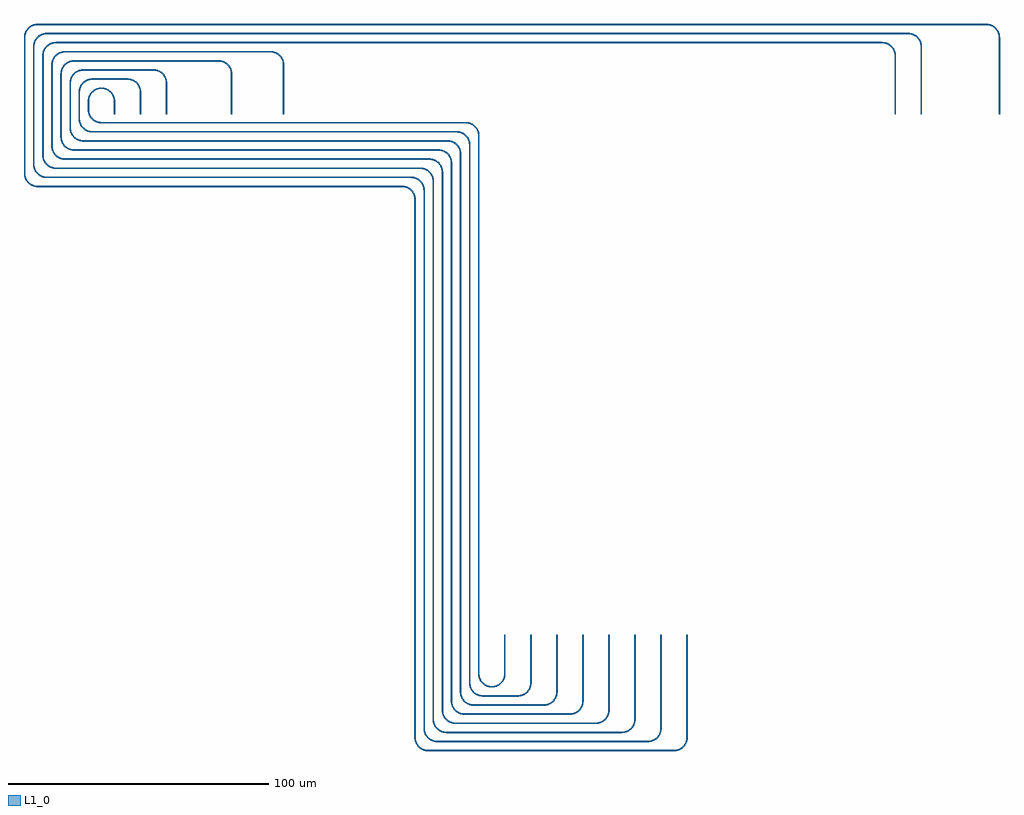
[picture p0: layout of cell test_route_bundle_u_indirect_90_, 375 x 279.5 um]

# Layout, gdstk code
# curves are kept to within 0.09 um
from math import pi, radians
import gdstk
lib = gdstk.Library(unit=1e-6, precision=1e-09)
def R(c, l, rs):  # rectangles x0, y0, x1, y1
    for r in rs: c.add(gdstk.rectangle(r[:2], r[2:], *l))
def P(c, l, *ps):  # polygons
    for p in ps: c.add(gdstk.Polygon(p, *l))
L1_0 = (1, 0)

straight_gdsfactorypcom_ = lib.new_cell('straight_gdsfactorypcom_0e673927')
R(straight_gdsfactorypcom_, L1_0, [(0,-0.25,206.75,0.25)])

c_straight_gdsfactorypcom_ = lib.new_cell('straight_gdsfactorypcom_5d7bad5d')
R(c_straight_gdsfactorypcom_, L1_0, [(0,-0.25,13.5,0.25)])

c_straight_gdsfactorypcom__ = lib.new_cell('straight_gdsfactorypcom_2bf0a6ae')
R(c_straight_gdsfactorypcom__, L1_0, [(0,-0.25,27,0.25)])

c_straight_gdsfactorypcom___ = lib.new_cell('straight_gdsfactorypcom_ae74440f')
R(c_straight_gdsfactorypcom___, L1_0, [(0,-0.25,40.5,0.25)])

c_straight_gdsfactorypcom____ = lib.new_cell('straight_gdsfactorypcom_b1e06083')
R(c_straight_gdsfactorypcom____, L1_0, [(0,-0.25,54,0.25)])

c_straight_gdsfactorypcom_____ = lib.new_cell('straight_gdsfactorypcom_2f048314')
R(c_straight_gdsfactorypcom_____, L1_0, [(0,-0.25,317.5,0.25)])

c_straight_gdsfactorypcom______ = lib.new_cell('straight_gdsfactorypcom_1254fcb9')
R(c_straight_gdsfactorypcom______, L1_0, [(0,-0.25,67.5,0.25)])

c_straight_gdsfactorypcom_______ = lib.new_cell('straight_gdsfactorypcom_dda4c498')
R(c_straight_gdsfactorypcom_______, L1_0, [(0,-0.25,331,0.25)])

c_straight_gdsfactorypcom________ = lib.new_cell('straight_gdsfactorypcom_6c9425ca')
R(c_straight_gdsfactorypcom________, L1_0, [(0,-0.25,81,0.25)])

c_straight_gdsfactorypcom_________ = lib.new_cell('straight_gdsfactorypcom_8417fc58')
R(c_straight_gdsfactorypcom_________, L1_0, [(0,-0.25,364.5,0.25)])

c_straight_gdsfactorypcom__________ = lib.new_cell('straight_gdsfactorypcom_fe520bd2')
R(c_straight_gdsfactorypcom__________, L1_0, [(0,-0.25,94.5,0.25)])

bend_circular_gdsfactor_ = lib.new_cell('bend_circular_gdsfactor_0c9d0621')
P(bend_circular_gdsfactor_, L1_0, [(0,-0.25),(0,0.25),(0.988,0.354),(1.932,0.661),(2.587,1.016),(3.359,1.641),(3.984,2.413),(4.339,3.068),(4.646,4.012),(4.75,5),(5.25,5),(5.135,3.908),(4.796,2.865),(4.247,1.914),(3.712,1.288),(3.086,0.753),(2.135,0.204),(1.092,-0.135)])

c_straight_gdsfactorypcom___________ = lib.new_cell('straight_gdsfactorypcom_4c7e8790')
R(c_straight_gdsfactorypcom___________, L1_0, [(0,-0.25,29.5,0.25)])

c_straight_gdsfactorypcom____________ = lib.new_cell('straight_gdsfactorypcom_3da9e238')
R(c_straight_gdsfactorypcom____________, L1_0, [(0,-0.25,26,0.25)])

c_straight_gdsfactorypcom_____________ = lib.new_cell('straight_gdsfactorypcom_90bf7c3d')
R(c_straight_gdsfactorypcom_____________, L1_0, [(0,-0.25,22.5,0.25)])

c_straight_gdsfactorypcom______________ = lib.new_cell('straight_gdsfactorypcom_d1a5e935')
R(c_straight_gdsfactorypcom______________, L1_0, [(0,-0.25,140,0.25)])

c_straight_gdsfactorypcom_______________ = lib.new_cell('straight_gdsfactorypcom_dbcfb186')
R(c_straight_gdsfactorypcom_______________, L1_0, [(0,-0.25,3.25,0.25)])

c_straight_gdsfactorypcom________________ = lib.new_cell('straight_gdsfactorypcom_a1f03c60')
R(c_straight_gdsfactorypcom________________, L1_0, [(0,-0.25,15.5,0.25)])

c_straight_gdsfactorypcom_________________ = lib.new_cell('straight_gdsfactorypcom_ae8d1233')
R(c_straight_gdsfactorypcom_________________, L1_0, [(0,-0.25,55.5,0.25)])

c_straight_gdsfactorypcom__________________ = lib.new_cell('straight_gdsfactorypcom_619c788f')
R(c_straight_gdsfactorypcom__________________, L1_0, [(0,-0.25,24.25,0.25)])

c_straight_gdsfactorypcom___________________ = lib.new_cell('straight_gdsfactorypcom_04b0d241')
R(c_straight_gdsfactorypcom___________________, L1_0, [(0,-0.25,19,0.25)])

c_straight_gdsfactorypcom____________________ = lib.new_cell('straight_gdsfactorypcom_26d402a5')
R(c_straight_gdsfactorypcom____________________, L1_0, [(0,-0.25,79,0.25)])

c_straight_gdsfactorypcom_____________________ = lib.new_cell('straight_gdsfactorypcom_e8fa81d7')
R(c_straight_gdsfactorypcom_____________________, L1_0, [(0,-0.25,31.25,0.25)])

c_straight_gdsfactorypcom______________________ = lib.new_cell('straight_gdsfactorypcom_29adfe89')
R(c_straight_gdsfactorypcom______________________, L1_0, [(0,-0.25,8.5,0.25)])

c_straight_gdsfactorypcom_______________________ = lib.new_cell('straight_gdsfactorypcom_d76f548c')
R(c_straight_gdsfactorypcom_______________________, L1_0, [(0,-0.25,38.25,0.25)])

c_straight_gdsfactorypcom________________________ = lib.new_cell('straight_gdsfactorypcom_f8441c0e')
R(c_straight_gdsfactorypcom________________________, L1_0, [(0,-0.25,10.25,0.25)])

c_straight_gdsfactorypcom_________________________ = lib.new_cell('straight_gdsfactorypcom_f5657628')
R(c_straight_gdsfactorypcom_________________________, L1_0, [(0,-0.25,5,0.25)])

c_straight_gdsfactorypcom__________________________ = lib.new_cell('straight_gdsfactorypcom_1e25e4af')
R(c_straight_gdsfactorypcom__________________________, L1_0, [(0,-0.25,45.25,0.25)])

c_straight_gdsfactorypcom___________________________ = lib.new_cell('straight_gdsfactorypcom_f3e780f9')
R(c_straight_gdsfactorypcom___________________________, L1_0, [(0,-0.25,12,0.25)])

c_straight_gdsfactorypcom____________________________ = lib.new_cell('straight_gdsfactorypcom_67743730')
R(c_straight_gdsfactorypcom____________________________, L1_0, [(0,-0.25,52.25,0.25)])

c_straight_gdsfactorypcom_____________________________ = lib.new_cell('straight_gdsfactorypcom_2e1b5072')
R(c_straight_gdsfactorypcom_____________________________, L1_0, [(0,-0.25,17.25,0.25)])

c_straight_gdsfactorypcom______________________________ = lib.new_cell('straight_gdsfactorypcom_872c1d86')
R(c_straight_gdsfactorypcom______________________________, L1_0, [(0,-0.25,15,0.25)])

c_straight_gdsfactorypcom_______________________________ = lib.new_cell('straight_gdsfactorypcom_056072ab')
R(c_straight_gdsfactorypcom_______________________________, L1_0, [(0,-0.25,36,0.25)])

c_straight_gdsfactorypcom________________________________ = lib.new_cell('straight_gdsfactorypcom_e516d49d')
R(c_straight_gdsfactorypcom________________________________, L1_0, [(0,-0.25,29,0.25)])

c_straight_gdsfactorypcom_________________________________ = lib.new_cell('straight_gdsfactorypcom_17c3b0b8')
R(c_straight_gdsfactorypcom_________________________________, L1_0, [(0,-0.25,25.5,0.25)])

c_straight_gdsfactorypcom__________________________________ = lib.new_cell('straight_gdsfactorypcom_d5b5a5a4')
R(c_straight_gdsfactorypcom__________________________________, L1_0, [(0,-0.25,22,0.25)])

c_straight_gdsfactorypcom___________________________________ = lib.new_cell('straight_gdsfactorypcom_a9db5d26')
R(c_straight_gdsfactorypcom___________________________________, L1_0, [(0,-0.25,18.5,0.25)])

c_straight_gdsfactorypcom____________________________________ = lib.new_cell('straight_gdsfactorypcom_ac2d0620')
R(c_straight_gdsfactorypcom____________________________________, L1_0, [(0,-0.25,32.5,0.25)])

c_straight_gdsfactorypcom_____________________________________ = lib.new_cell('straight_gdsfactorypcom_18aef842')
R(c_straight_gdsfactorypcom_____________________________________, L1_0, [(0,-0.25,39.5,0.25)])

test_route_bundle_u_indi = lib.new_cell('test_route_bundle_u_indirect_90_')
test_route_bundle_u_indi.add(gdstk.Reference(straight_gdsfactorypcom_, (40,-8.25), rotation=3*pi/2))
test_route_bundle_u_indi.add(gdstk.Reference(straight_gdsfactorypcom_, (36.5,-11.75), rotation=3*pi/2))
test_route_bundle_u_indi.add(gdstk.Reference(c_straight_gdsfactorypcom_, (41.5,-223.5)))
test_route_bundle_u_indi.add(gdstk.Reference(straight_gdsfactorypcom_, (33,-15.25), rotation=3*pi/2))
test_route_bundle_u_indi.add(gdstk.Reference(c_straight_gdsfactorypcom__, (38,-227)))
test_route_bundle_u_indi.add(gdstk.Reference(straight_gdsfactorypcom_, (29.5,-18.75), rotation=3*pi/2))
test_route_bundle_u_indi.add(gdstk.Reference(c_straight_gdsfactorypcom___, (34.5,-230.5)))
test_route_bundle_u_indi.add(gdstk.Reference(straight_gdsfactorypcom_, (26,-22.25), rotation=3*pi/2))
test_route_bundle_u_indi.add(gdstk.Reference(c_straight_gdsfactorypcom____, (31,-234)))
test_route_bundle_u_indi.add(gdstk.Reference(c_straight_gdsfactorypcom_____, (195,27.5), rotation=pi))
test_route_bundle_u_indi.add(gdstk.Reference(straight_gdsfactorypcom_, (22.5,-25.75), rotation=3*pi/2))
test_route_bundle_u_indi.add(gdstk.Reference(c_straight_gdsfactorypcom______, (27.5,-237.5)))
test_route_bundle_u_indi.add(gdstk.Reference(c_straight_gdsfactorypcom_______, (205,31), rotation=pi))
test_route_bundle_u_indi.add(gdstk.Reference(straight_gdsfactorypcom_, (19,-29.25), rotation=3*pi/2))
test_route_bundle_u_indi.add(gdstk.Reference(c_straight_gdsfactorypcom________, (24,-241)))
test_route_bundle_u_indi.add(gdstk.Reference(c_straight_gdsfactorypcom_________, (235,34.5), rotation=pi))
test_route_bundle_u_indi.add(gdstk.Reference(straight_gdsfactorypcom_, (15.5,-32.75), rotation=3*pi/2))
test_route_bundle_u_indi.add(gdstk.Reference(c_straight_gdsfactorypcom__________, (20.5,-244.5)))
test_route_bundle_u_indi.add(gdstk.Reference(bend_circular_gdsfactor_, (205,31), x_reflection=True))
test_route_bundle_u_indi.add(gdstk.Reference(bend_circular_gdsfactor_, (235,34.5), x_reflection=True))
test_route_bundle_u_indi.add(gdstk.Reference(c_straight_gdsfactorypcom___________, (240,0), rotation=pi/2))
test_route_bundle_u_indi.add(gdstk.Reference(c_straight_gdsfactorypcom____________, (210,0), rotation=pi/2))
test_route_bundle_u_indi.add(gdstk.Reference(c_straight_gdsfactorypcom_____________, (200,0), rotation=pi/2))
test_route_bundle_u_indi.add(gdstk.Reference(bend_circular_gdsfactor_, (195,27.5), x_reflection=True))
test_route_bundle_u_indi.add(gdstk.Reference(bend_circular_gdsfactor_, (33,-15.25), rotation=pi/2))
test_route_bundle_u_indi.add(gdstk.Reference(c_straight_gdsfactorypcom______________, (-112,-10.25)))
test_route_bundle_u_indi.add(gdstk.Reference(bend_circular_gdsfactor_, (-105,-3.25), rotation=pi, x_reflection=True))
test_route_bundle_u_indi.add(gdstk.Reference(c_straight_gdsfactorypcom_______________, (-110,5), rotation=3*pi/2))
test_route_bundle_u_indi.add(gdstk.Reference(bend_circular_gdsfactor_, (-60,20.5), x_reflection=True))
test_route_bundle_u_indi.add(gdstk.Reference(c_straight_gdsfactorypcom________________, (-55,0), rotation=pi/2))
test_route_bundle_u_indi.add(gdstk.Reference(bend_circular_gdsfactor_, (-120.5,15.5), rotation=pi/2, x_reflection=True))
test_route_bundle_u_indi.add(gdstk.Reference(c_straight_gdsfactorypcom_________________, (-60,20.5), rotation=pi))
test_route_bundle_u_indi.add(gdstk.Reference(bend_circular_gdsfactor_, (-115.5,-13.75), rotation=pi, x_reflection=True))
test_route_bundle_u_indi.add(gdstk.Reference(c_straight_gdsfactorypcom__________________, (-120.5,15.5), rotation=3*pi/2))
test_route_bundle_u_indi.add(gdstk.Reference(bend_circular_gdsfactor_, (29.5,-18.75), rotation=pi/2))
test_route_bundle_u_indi.add(gdstk.Reference(c_straight_gdsfactorypcom______________, (-115.5,-13.75)))
test_route_bundle_u_indi.add(gdstk.Reference(bend_circular_gdsfactor_, (40,-8.25), rotation=pi/2))
test_route_bundle_u_indi.add(gdstk.Reference(c_straight_gdsfactorypcom______________, (-105,-3.25)))
test_route_bundle_u_indi.add(gdstk.Reference(bend_circular_gdsfactor_, (-40,24), x_reflection=True))
test_route_bundle_u_indi.add(gdstk.Reference(c_straight_gdsfactorypcom___________________, (-35,0), rotation=pi/2))
test_route_bundle_u_indi.add(gdstk.Reference(bend_circular_gdsfactor_, (-124,19), rotation=pi/2, x_reflection=True))
test_route_bundle_u_indi.add(gdstk.Reference(c_straight_gdsfactorypcom____________________, (-40,24), rotation=pi))
test_route_bundle_u_indi.add(gdstk.Reference(bend_circular_gdsfactor_, (-119,-17.25), rotation=pi, x_reflection=True))
test_route_bundle_u_indi.add(gdstk.Reference(c_straight_gdsfactorypcom_____________________, (-124,19), rotation=3*pi/2))
test_route_bundle_u_indi.add(gdstk.Reference(bend_circular_gdsfactor_, (26,-22.25), rotation=pi/2))
test_route_bundle_u_indi.add(gdstk.Reference(c_straight_gdsfactorypcom______________, (-119,-17.25)))
test_route_bundle_u_indi.add(gdstk.Reference(bend_circular_gdsfactor_, (-105,10), x_reflection=True))
test_route_bundle_u_indi.add(gdstk.Reference(bend_circular_gdsfactor_, (-95,13.5), x_reflection=True))
test_route_bundle_u_indi.add(gdstk.Reference(c_straight_gdsfactorypcom______________________, (-90,0), rotation=pi/2))
test_route_bundle_u_indi.add(gdstk.Reference(bend_circular_gdsfactor_, (-113.5,8.5), rotation=pi/2, x_reflection=True))
test_route_bundle_u_indi.add(gdstk.Reference(bend_circular_gdsfactor_, (-127.5,22.5), rotation=pi/2, x_reflection=True))
test_route_bundle_u_indi.add(gdstk.Reference(c_straight_gdsfactorypcom_, (-95,13.5), rotation=pi))
test_route_bundle_u_indi.add(gdstk.Reference(bend_circular_gdsfactor_, (-122.5,-20.75), rotation=pi, x_reflection=True))
test_route_bundle_u_indi.add(gdstk.Reference(c_straight_gdsfactorypcom_______________________, (-127.5,22.5), rotation=3*pi/2))
test_route_bundle_u_indi.add(gdstk.Reference(bend_circular_gdsfactor_, (22.5,-25.75), rotation=pi/2))
test_route_bundle_u_indi.add(gdstk.Reference(c_straight_gdsfactorypcom______________, (-122.5,-20.75)))
test_route_bundle_u_indi.add(gdstk.Reference(bend_circular_gdsfactor_, (-108.5,-6.75), rotation=pi, x_reflection=True))
test_route_bundle_u_indi.add(gdstk.Reference(c_straight_gdsfactorypcom________________________, (-113.5,8.5), rotation=3*pi/2))
test_route_bundle_u_indi.add(gdstk.Reference(bend_circular_gdsfactor_, (36.5,-11.75), rotation=pi/2))
test_route_bundle_u_indi.add(gdstk.Reference(c_straight_gdsfactorypcom______________, (-108.5,-6.75)))
test_route_bundle_u_indi.add(gdstk.Reference(bend_circular_gdsfactor_, (-131,26), rotation=pi/2, x_reflection=True))
test_route_bundle_u_indi.add(gdstk.Reference(c_straight_gdsfactorypcom_________________________, (-100,0), rotation=pi/2))
test_route_bundle_u_indi.add(gdstk.Reference(bend_circular_gdsfactor_, (-126,-24.25), rotation=pi, x_reflection=True))
test_route_bundle_u_indi.add(gdstk.Reference(c_straight_gdsfactorypcom__________________________, (-131,26), rotation=3*pi/2))
test_route_bundle_u_indi.add(gdstk.Reference(bend_circular_gdsfactor_, (19,-29.25), rotation=pi/2))
test_route_bundle_u_indi.add(gdstk.Reference(c_straight_gdsfactorypcom______________, (-126,-24.25)))
test_route_bundle_u_indi.add(gdstk.Reference(bend_circular_gdsfactor_, (-110,5), rotation=pi/2, x_reflection=True))
test_route_bundle_u_indi.add(gdstk.Reference(bend_circular_gdsfactor_, (-85,17), x_reflection=True))
test_route_bundle_u_indi.add(gdstk.Reference(c_straight_gdsfactorypcom___________________________, (-80,0), rotation=pi/2))
test_route_bundle_u_indi.add(gdstk.Reference(bend_circular_gdsfactor_, (-117,12), rotation=pi/2, x_reflection=True))
test_route_bundle_u_indi.add(gdstk.Reference(bend_circular_gdsfactor_, (-134.5,29.5), rotation=pi/2, x_reflection=True))
test_route_bundle_u_indi.add(gdstk.Reference(c_straight_gdsfactorypcom__, (-85,17), rotation=pi))
test_route_bundle_u_indi.add(gdstk.Reference(bend_circular_gdsfactor_, (-129.5,-27.75), rotation=pi, x_reflection=True))
test_route_bundle_u_indi.add(gdstk.Reference(c_straight_gdsfactorypcom____________________________, (-134.5,29.5), rotation=3*pi/2))
test_route_bundle_u_indi.add(gdstk.Reference(bend_circular_gdsfactor_, (15.5,-32.75), rotation=pi/2))
test_route_bundle_u_indi.add(gdstk.Reference(c_straight_gdsfactorypcom______________, (-129.5,-27.75)))
test_route_bundle_u_indi.add(gdstk.Reference(bend_circular_gdsfactor_, (-112,-10.25), rotation=pi, x_reflection=True))
test_route_bundle_u_indi.add(gdstk.Reference(c_straight_gdsfactorypcom_____________________________, (-117,12), rotation=3*pi/2))
test_route_bundle_u_indi.add(gdstk.Reference(bend_circular_gdsfactor_, (34.5,-230.5), rotation=pi, x_reflection=True))
test_route_bundle_u_indi.add(gdstk.Reference(bend_circular_gdsfactor_, (50,-215), rotation=3*pi/2, x_reflection=True))
test_route_bundle_u_indi.add(gdstk.Reference(bend_circular_gdsfactor_, (27.5,-237.5), rotation=pi, x_reflection=True))
test_route_bundle_u_indi.add(gdstk.Reference(bend_circular_gdsfactor_, (41.5,-223.5), rotation=pi, x_reflection=True))
test_route_bundle_u_indi.add(gdstk.Reference(c_straight_gdsfactorypcom______________________________, (50,-215), rotation=pi/2))
test_route_bundle_u_indi.add(gdstk.Reference(bend_circular_gdsfactor_, (24,-241), rotation=pi, x_reflection=True))
test_route_bundle_u_indi.add(gdstk.Reference(bend_circular_gdsfactor_, (45,-220), rotation=pi, x_reflection=True))
test_route_bundle_u_indi.add(gdstk.Reference(bend_circular_gdsfactor_, (20.5,-244.5), rotation=pi, x_reflection=True))
test_route_bundle_u_indi.add(gdstk.Reference(bend_circular_gdsfactor_, (31,-234), rotation=pi, x_reflection=True))
test_route_bundle_u_indi.add(gdstk.Reference(bend_circular_gdsfactor_, (38,-227), rotation=pi, x_reflection=True))
test_route_bundle_u_indi.add(gdstk.Reference(c_straight_gdsfactorypcom_______________________________, (110,-236), rotation=pi/2))
test_route_bundle_u_indi.add(gdstk.Reference(bend_circular_gdsfactor_, (80,-225.5), rotation=3*pi/2, x_reflection=True))
test_route_bundle_u_indi.add(gdstk.Reference(bend_circular_gdsfactor_, (90,-229), rotation=3*pi/2, x_reflection=True))
test_route_bundle_u_indi.add(gdstk.Reference(bend_circular_gdsfactor_, (60,-218.5), rotation=3*pi/2, x_reflection=True))
test_route_bundle_u_indi.add(gdstk.Reference(c_straight_gdsfactorypcom________________________________, (90,-229), rotation=pi/2))
test_route_bundle_u_indi.add(gdstk.Reference(c_straight_gdsfactorypcom_________________________________, (80,-225.5), rotation=pi/2))
test_route_bundle_u_indi.add(gdstk.Reference(c_straight_gdsfactorypcom__________________________________, (70,-222), rotation=pi/2))
test_route_bundle_u_indi.add(gdstk.Reference(bend_circular_gdsfactor_, (100,-232.5), rotation=3*pi/2, x_reflection=True))
test_route_bundle_u_indi.add(gdstk.Reference(c_straight_gdsfactorypcom___________________________________, (60,-218.5), rotation=pi/2))
test_route_bundle_u_indi.add(gdstk.Reference(c_straight_gdsfactorypcom____________________________________, (100,-232.5), rotation=pi/2))
test_route_bundle_u_indi.add(gdstk.Reference(bend_circular_gdsfactor_, (110,-236), rotation=3*pi/2, x_reflection=True))
test_route_bundle_u_indi.add(gdstk.Reference(bend_circular_gdsfactor_, (120,-239.5), rotation=3*pi/2, x_reflection=True))
test_route_bundle_u_indi.add(gdstk.Reference(bend_circular_gdsfactor_, (70,-222), rotation=3*pi/2, x_reflection=True))
test_route_bundle_u_indi.add(gdstk.Reference(c_straight_gdsfactorypcom_____________________________________, (120,-239.5), rotation=pi/2))

lib.write_gds('test_route_bundle_u_indirect_90_.gds')
